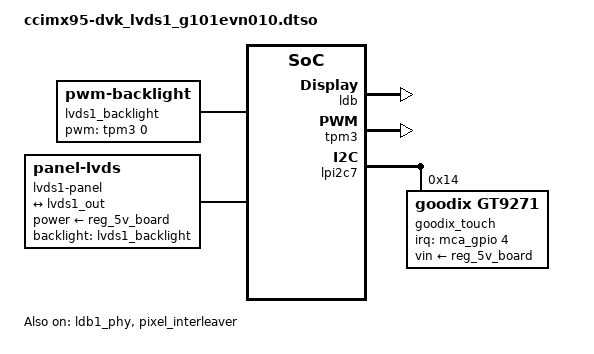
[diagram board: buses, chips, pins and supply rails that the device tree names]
// SPDX-License-Identifier: (GPL-2.0+ OR MIT)
/*
 * Copyright 2025-2026, Digi International Inc.
 */

/dts-v1/;
/plugin/;

#include <dt-bindings/clock/fsl,imx95-clock.h>
#include <dt-bindings/gpio/gpio.h>
#include <dt-bindings/interrupt-controller/irq.h>
#include "../freescale/imx95-pinfunc.h"

/ {
	fragment@0 {
		target-path = "/";
		__overlay__ {
			overlay-description = "DVK: AUO G101EVN01.1 display on LVDS1";

			lvds1_backlight: lvds1-backlight {
				compatible = "pwm-backlight";
				pinctrl-names = "default";
				pinctrl-0 = <&pinctrl_lvds1_backlight>;
				pwms = <&tpm3 0 50000 0>;
				brightness-levels = <0 20 25 30 35 40 100>;
				default-brightness-level = <6>;
				status = "okay";
			};

			lvds1-panel {
				compatible = "panel-lvds";
				backlight = <&lvds1_backlight>;
				power-supply = <&reg_5v_board>;
				data-mapping = "jeida-24";
				de-high;
				width-mm = <216>;
				height-mm = <135>;
				status = "okay";

				/* AUO G101EVN01.0 */
				panel-timing {
					clock-frequency = <68930000>;
					hactive = <1280>;
					vactive = <800>;
					hfront-porch = <120>;
					hback-porch = <2>;
					hsync-len = <8>;
					vback-porch = <10>;
					vfront-porch = <2>;
					vsync-len = <6>;
					hsync-active = <1>;
					vsync-active = <1>;
				};

				port {
					panel_lvds1_in: endpoint {
						remote-endpoint = <&lvds1_out>;
					};
				};
			};
		};
	};

	/* Disable the HDMI bridge */
	fragment@1 {
		target = <&lt_bridge>;
		__overlay__ {
			status = "disabled";
		};
	};

	/* Disable MIPI DSI phy */
	fragment@2 {
		target = <&mipi_dsi>;
		__overlay__ {
			status = "disabled";
		};
	};

	/* Disable HDMI connector */
	fragment@3 {
		target = <&hdmi_connector>;
		__overlay__ {
			status = "disabled";
		};
	};

	/* Enable the LVDS bridge */
	fragment@4 {
		target = <&ldb>;
		__overlay__ {
			assigned-clocks = <&scmi_clk IMX95_CLK_LDBPLL>;
			assigned-clock-rates = <482549760>;
			#address-cells = <1>;
			#size-cells = <0>;
			status = "okay";

			channel@1 {
				#address-cells = <1>;
				#size-cells = <0>;
				reg = <1>;
				status = "okay";

				port@1 {
					reg = <1>;

					lvds1_out: endpoint {
						remote-endpoint = <&panel_lvds1_in>;
					};
				};
			};
		};
	};

	/* Enable the LVDS phy */
	fragment@5 {
		target = <&ldb1_phy>;
		__overlay__ {
			status = "okay";
		};
	};

	/* Enable channel1 of pixel-interleaver */
	fragment@6 {
		target = <&pixel_interleaver>;
		__overlay__ {
			#address-cells = <1>;
			#size-cells = <0>;
			status = "okay";

			/* Disable LVDS0 */
			channel@0 {
				reg = <0>;
				status = "disabled";
			};

			channel@1 {
				reg = <1>;
				status = "okay";
			};
		};
	};

	/* Enable the LVDS backlight PWM */
	fragment@7 {
		target = <&tpm3>;
		__overlay__ {
			status = "okay";
		};
	};

	/* Enable goodix_touch */
	fragment@8 {
		target = <&lpi2c7>;
		__overlay__ {
			#address-cells = <1>;
			#size-cells = <0>;

			goodix_touch: gt9271@14 {
				compatible = "goodix,gt9271";
				reg = <0x14>;
				/* LVDS interrupt (MCA PB11) */
				interrupt-parent = <&mca_gpio>;
				interrupts = <4 IRQ_TYPE_EDGE_FALLING>;
				irq-gpios = <&mca_gpio 4 GPIO_ACTIVE_HIGH>;
				reload-fw-on-resume;
				skip-firmware-request;
				vin-supply = <&reg_5v_board>;
				status = "okay";
			};
		};
	};

	/* pinctrl */
	fragment@9 {
		target = <&scmi_iomuxc>;
		__overlay__ {
			/* Backlight */
			pinctrl_lvds1_backlight: lvds1backlightgrp {
				fsl,pins = <
					IMX95_PAD_GPIO_IO04__TPM3_CH0		0x51e
				>;
			};
		};
	};
};
